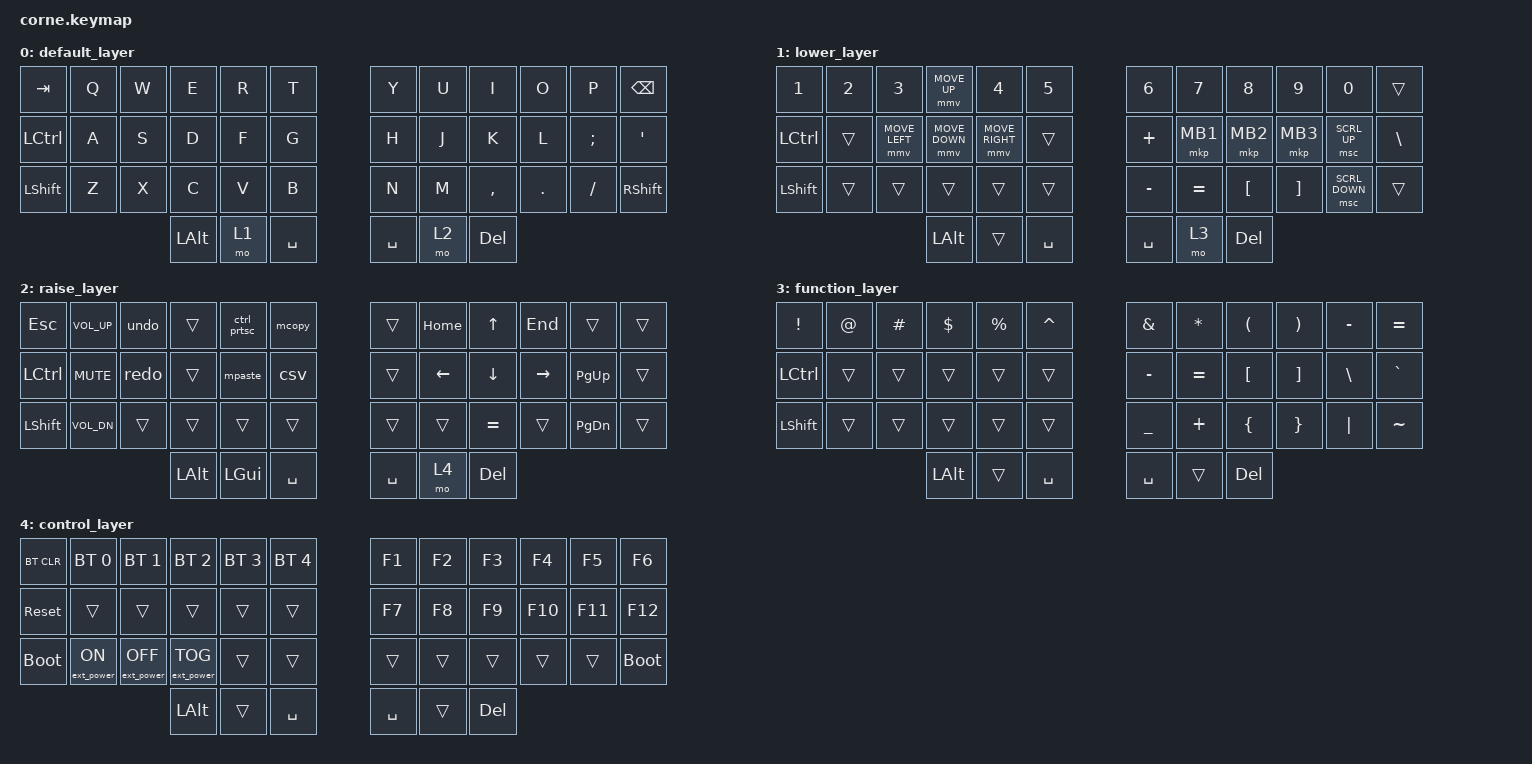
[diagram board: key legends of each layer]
/*
 * Copyright (c) 2020 The ZMK Contributors
 *
 * SPDX-License-Identifier: MIT
 */

#include <behaviors.dtsi>
#include <dt-bindings/zmk/keys.h>
#include <dt-bindings/zmk/bt.h>
#include <dt-bindings/zmk/ext_power.h>
#include <dt-bindings/zmk/pointing.h>

/ {
    macros {
        win_c: win_c {
            label = "WIN_C";
            compatible = "zmk,behavior-macro";
            #binding-cells = <0>;
            bindings
                = <&macro_press &kp LGUI>
                , <&macro_tap &kp C>
                , <&macro_release &kp LGUI>
                ;
        };
        ctrl_prtsc: ctrl_prtsc {
            label = "CTRL_PRSC";
            compatible = "zmk,behavior-macro";
            #binding-cells = <0>;
            bindings
                = <&macro_press &kp LCTRL>
                , <&macro_tap &kp PRINTSCREEN>
                , <&macro_release &kp LCTRL>
                ;
        };

        csc: csc {
            label = "CSC";
            compatible = "zmk,behavior-macro";
            #binding-cells = <0>;
            bindings
                = <&macro_press &kp LCTRL &kp LSHIFT>
                , <&macro_tap &kp C>
                , <&macro_release &kp LSHIFT &kp LCTRL>
                ;
        };

        csv: csv {
            label = "CSV";
            compatible = "zmk,behavior-macro";
            #binding-cells = <0>;
            bindings
                = <&macro_press &kp LCTRL &kp LSHIFT>
                , <&macro_tap &kp V>
                , <&macro_release &kp LSHIFT &kp LCTRL>
                ;
        };

        mcopy: mcopy {
            label = "mcopy";
            compatible = "zmk,behavior-macro";
            #binding-cells = <0>;
            bindings
                = <&macro_press &kp LCTRL>
                , <&macro_tap &kp C>
                , <&macro_release &kp LCTRL>
                ;
        };

        mpaste: mpaste {
            label = "mpaste";
            compatible = "zmk,behavior-macro";
            #binding-cells = <0>;
            bindings
                = <&macro_press &kp LCTRL>
                , <&macro_tap &kp V>
                , <&macro_release &kp LCTRL>
                ;
        };

        undo: undo {
            label = "undo";
            compatible = "zmk,behavior-macro";
            #binding-cells = <0>;
            bindings
                = <&macro_press &kp LCTRL>
                , <&macro_tap &kp Z>
                , <&macro_release &kp LCTRL>
                ;
        };

        redo: redo {
            label = "redo";
            compatible = "zmk,behavior-macro";
            #binding-cells = <0>;
            bindings
                = <&macro_press &kp LCTRL>
                , <&macro_tap &kp Y>
                , <&macro_release &kp LCTRL>
                ;
        };

        ptrun: ptrun {
            label = "ptrun";
            compatible = "zmk,behavior-macro";
            #binding-cells = <0>;
            bindings
                = <&macro_press &kp LWIN>
                , <&macro_press &kp LALT>
                , <&macro_tap &kp SPACE>
                , <&macro_release &kp LWIN>
                , <&macro_release &kp LALT>
                ;
        };
    };

    keymap {
        compatible = "zmk,keymap";

        default_layer {
// -----------------------------------------------------------------------------------------
// |  TAB |  Q  |  W  |  E  |  R  |  T  |   |  Y  |  U   |  I  |  O  |  P  | BSPC |
// | CTRL |  A  |  S  |  D  |  F  |  G  |   |  H  |  J   |  K  |  L  |  ;  |  '   |
// | SHFT |  Z  |  X  |  C  |  V  |  B  |   |  N  |  M   |  ,  |  .  |  /  | SHFT |
//                    | ALT | LWR | SPC |   | SPC | RSE  | DEL |
            bindings = <
   &kp TAB    &kp Q &kp W &kp E &kp R &kp T   &kp Y &kp U  &kp I     &kp O   &kp P    &kp BSPC
   &kp LCTRL  &kp A &kp S &kp D &kp F &kp G   &kp H &kp J  &kp K     &kp L   &kp SEMI &kp SQT
   &kp LSHFT  &kp Z &kp X &kp C &kp V &kp B   &kp N &kp M  &kp COMMA &kp DOT &kp FSLH &kp RSHFT
                  &kp LALT &mo 1 &kp SPACE    &kp SPACE &mo 2 &kp DEL
            >;
        };

        lower_layer {
// -----------------------------------------------------------------------------------------
// |  1   |  2  |  3  |  ^  |  4  |  5  |   |  6  |  7  |  8  |  9  |  0  |      |
// | CTRL |     | <-  |  v  | ->  |     |   |  +  | MB1 | MB2 | MB3 | SCU | BSLH |
// | SHFT |     |     |     |     |     |   |  _  |  =  |  [  |  ]  | SCD | SHFT |
//                    | ALT |     | SPC |   | SPC | MO3 | DEL |
            bindings = <
   &kp N1     &kp N2       &kp N3          &mmv MOVE_UP    &kp N4       &kp N5         &kp N6    &kp N7    &kp N8    &kp N9     &kp N0         &trans
   &kp LCTRL  &trans       &mmv MOVE_LEFT  &mmv MOVE_DOWN  &mmv MOVE_RIGHT &trans      &kp PLUS  &mkp MB1  &mkp MB2  &mkp MB3   &msc SCRL_UP   &kp BSLH
   &kp LSHFT  &trans       &trans          &trans          &trans       &trans         &kp MINUS &kp EQUAL &kp LBKT  &kp RBKT   &msc SCRL_DOWN &trans
                                           &kp LALT        &trans       &kp SPACE      &kp SPACE &mo 3     &kp DEL
            >;
        };

        raise_layer {
// -----------------------------------------------------------------------------------------
// |  ESC | VUP |UNDO |     |C+PSC| COPY|   |     | HOME| UP  | END |     |      |
// | CTRL | MUTE|REDO |     |PASTE|C+S+V|   |     | LEFT| DOWN|RIGHT|PG_UP|      |
// | SHFT | VDWN|     |     |     |     |   |     |     |  =  |     |PG_DN| SHFT |
//                    | ALT | GUI | SPC |   | SPC |     | DEL |
            bindings = <
   &kp ESC    &kp C_VOL_UP &undo      &trans       &ctrl_prtsc &mcopy    &trans    &kp HOME &kp UP    &kp END   &trans    &trans
   &kp LCTRL  &kp C_MUTE   &redo       &trans       &mpaste     &csv      &trans    &kp LEFT &kp DOWN  &kp RIGHT &kp PG_UP &trans
   &kp LSHFT  &kp C_VOL_DN &trans       &trans       &trans      &trans    &trans    &trans   &kp EQUAL &trans    &kp PG_DN &trans
                                       &kp LALT     &kp LGUI    &kp SPACE &kp SPACE &mo 4    &kp DEL
            >;
        };

        function_layer {
// -----------------------------------------------------------------------------------------
// |  !   |  @  |  #  |  $  |  %  |  ^  |   |  &  |  *  |  (  |  )  |  -  |  =   |
// | CTRL |     |     |     |     |     |   |  -  |  =  |  [  |  ]  |  \  |  `   |
// | SHFT |     |     |     |     |     |   |  _  |  +  |  {  |  }  | "|" |  ~   |
//                    | ALT |     | SPC |   | SPC |     | DEL |
            bindings = <
   &kp EXCL   &kp AT    &kp HASH  &kp DOLLAR &kp PRCNT &kp CARET    &kp AMPS  &kp ASTRK &kp LPAR  &kp RPAR  &kp MINUS &kp EQUAL
   &kp LCTRL  &trans    &trans    &trans     &trans    &trans       &kp MINUS &kp EQUAL &kp LBKT  &kp RBKT  &kp BSLH  &kp GRAVE
   &kp LSHFT  &trans    &trans    &trans     &trans    &trans       &kp UNDER &kp PLUS  &kp LBRC  &kp RBRC  &kp PIPE  &kp TILDE
                                  &kp LALT   &trans    &kp SPACE    &kp SPACE &trans    &kp DEL
            >;
        };

        control_layer {
// -----------------------------------------------------------------------------------------
// | BTCLR| BT1 | BT2 | BT3 | BT4 | BT5 |   | F1  | F2  | F3  | F4  | F5  | F6   |
// |SYS_RS|     |     |     |     |     |   | F7  | F8  | F9  | F10 | F11 | F12  |
// | BOOT |P_ON |P_OFF|P_TOG|     |     |   |     |     |     |     |     | BOOT |
//                    | ALT |     | SPC |   | SPC |     | DEL |
            bindings = <
   &bt BT_CLR &bt BT_SEL 0 &bt BT_SEL 1 &bt BT_SEL 2 &bt BT_SEL 3 &bt BT_SEL 4   &kp F1 &kp F2 &kp F3 &kp F4 &kp F5 &kp F6
   &sys_reset &trans       &trans       &trans       &trans       &trans          &kp F7 &kp F8 &kp F9 &kp F10 &kp F11 &kp F12
   &bootloader &ext_power EP_ON &ext_power EP_OFF &ext_power EP_TOG &trans &trans &trans &trans &trans &trans &trans &bootloader
                                        &kp LALT     &trans       &kp SPACE      &kp SPACE &trans &kp DEL
            >;
        };
    };
};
